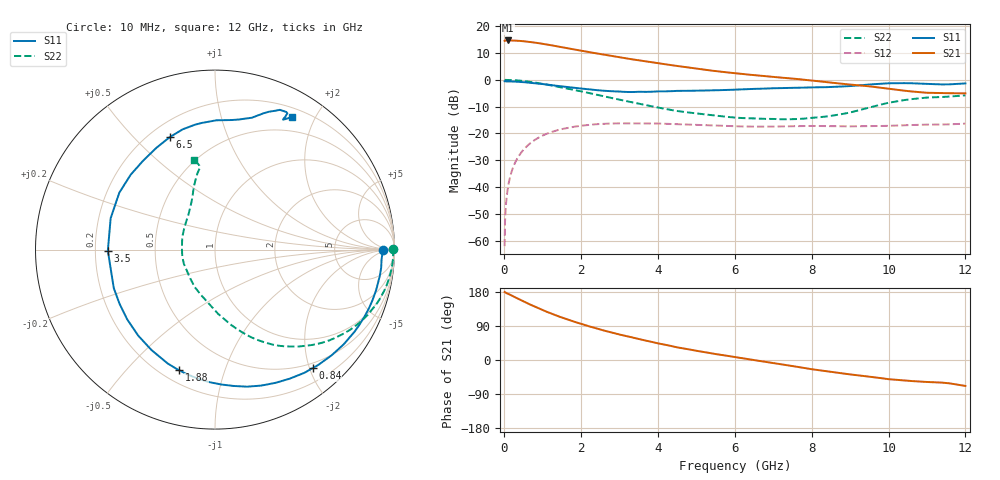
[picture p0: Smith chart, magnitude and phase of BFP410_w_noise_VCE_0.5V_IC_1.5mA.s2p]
! Infineon Technologies  Discrete & RF Semiconductors
! BFP410
! VCE =  0.5 V,  IC =  1.5 mA
! Common Emitter S-Parameters:  Nov 2015
# GHz  S  MA  R  50
!  f  S11  S21  S12  S22
! GHz  MAG  ANG  MAG  ANG  MAG  ANG  MAG  ANG
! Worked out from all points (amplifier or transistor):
!   243 points, 10 MHz to 12 GHz, reference 50 ohm
!   highest |S21| = 14.6 dB at 100 MHz (marker M1)
!   |S21| within 3 dB of that: start of sweep to 1.689 GHz
!   unconditionally stable (mu >= 1): 4.29 GHz to end of sweep
!   at 240 MHz: K = 0.04, MSG = 23.4 dB, |S12| = -32.3 dB
!   at 1.84 GHz: K = 0.37, MSG = 14.3 dB, |S12| = -17.4 dB
!   at 12 GHz: K = 1.20, MAG = 3.0 dB, |S12| = -16.3 dB
!   lowest NFmin = 0.80 dB at 900 MHz
!   S11 on the Smith chart (normalised r, x): 10 MHz: 31, -2; 840 MHz: 0.42, -2.05; 1.88 GHz: 0.27, -0.71; 3.5 GHz: 0.25, -0.00; 6.5 GHz: 0.28, +0.64; 12 GHz: 0.31, +1.69
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0.01  0.9369 -0.2  5.292 179.4  0.0008 98.3  0.9937 0.2
0.02  0.9343 -1.1  5.377 179.0  0.0022 90.4  0.9934 -0.6
0.035  0.9318 -2.0  5.364 177.9  0.0037 88.3  0.9934 -1.3
0.1  0.9313 -6.2  5.38 175.0  0.0102 86.5  0.9926 -3.8
0.24  0.925 -14.6  5.346 167.7  0.0243 81.2  0.9837 -9.1
0.45  0.9078 -27.3  5.246 157.3  0.045 73.6  0.9571 -17.0
0.6  0.8903 -36.4  5.112 149.6  0.0589 68.1  0.9297 -22.4
0.84  0.8555 -50.5  4.847 138.8  0.0793 59.7  0.8774 -30.4
1.04  0.8237 -62.2  4.607 130.0  0.0942 53.1  0.8283 -36.6
1.3  0.7844 -76.8  4.282 119.4  0.1106 45.0  0.7642 -43.9
1.88  0.7009 -106.7  3.597 99.2  0.1357 30.0  0.6327 -57.4
2.02  0.6837 -113.4  3.451 94.8  0.1399 26.8  0.6044 -60.1
2.6  0.6249 -141.5  2.924 77.6  0.1515 14.5  0.4902 -71.3
3  0.6033 -159.2  2.62 67.2  0.1545 7.5  0.4248 -78.4
3.5  0.5971 -179.4  2.301 55.1  0.1546 0.1  0.3586 -87.2
4.1  0.6067 160.5  1.985 42.0  0.1523 -7.0  0.2945 -98.5
5  0.6283 138.4  1.606 24.2  0.1445 -15.2  0.2365 -118.8
6.1  0.6573 118.4  1.3 6.2  0.1353 -20.4  0.1954 -143.8
6.5  0.6752 112.0  1.218 -0.3  0.1339 -21.4  0.1908 -155.3
8.2  0.7229 86.0  0.934 -27.1  0.1375 -28.0  0.2004 152.1
10.2  0.8609 63.9  0.653 -52.2  0.1405 -32.8  0.3947 106.3
12  0.8542 59.9  0.558 -68.5  0.1524 -41.1  0.512 103.1
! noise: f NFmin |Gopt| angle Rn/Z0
0.45  0.83  0.58  8  0.37
0.9  0.8  0.56  23  0.31
1.8  1.07  0.45  56  0.26
2.4  1.14  0.41  67  0.25
5.5  2.37  0.4  -150  0.18
10  4.33  0.72  -58  2.98
